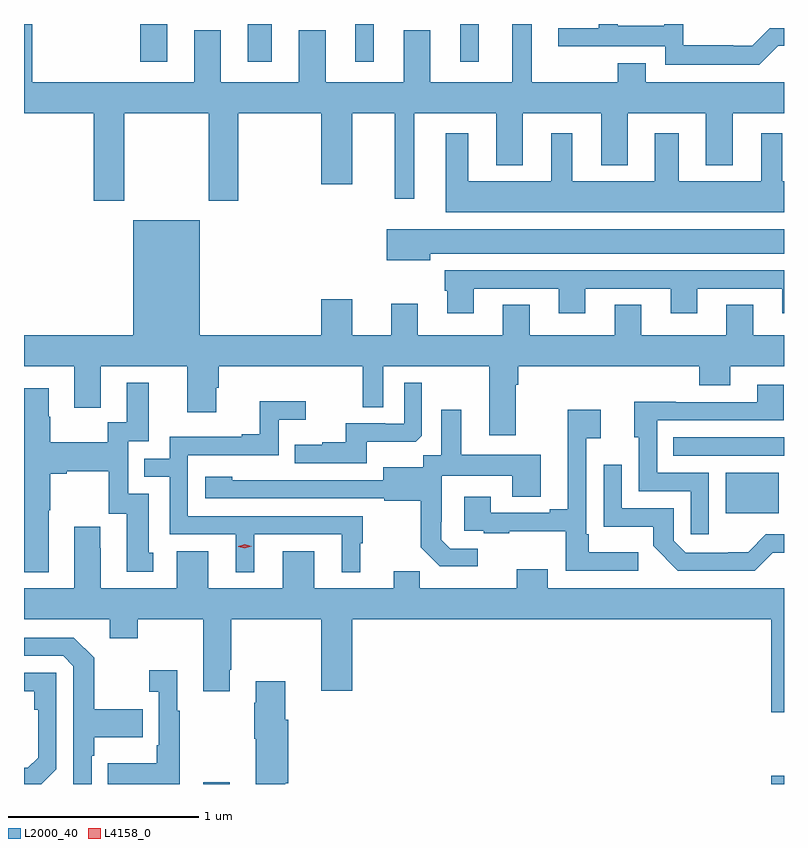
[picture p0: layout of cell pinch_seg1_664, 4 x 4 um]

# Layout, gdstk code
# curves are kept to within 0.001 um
import gdstk
lib = gdstk.Library(unit=1e-6, precision=1e-09)
def R(c, l, rs):  # rectangles x0, y0, x1, y1
    for r in rs: c.add(gdstk.rectangle(r[:2], r[2:], *l))
def P(c, l, *ps):  # polygons
    for p in ps: c.add(gdstk.Polygon(p, *l))
L2000_40 = (2000, 40)
L4158_0 = (4158, 0)

pinch_seg1_664 = lib.new_cell('pinch_seg1_664')
R(pinch_seg1_664, L2000_40, [(799.751,572.178,799.891,572.188), (802.741,572.178,802.808,572.221), (802.502,573.602,802.78,573.817), (802.225,573.906,802.808,574.002), (799.421,575.979,799.561,576.178), (799.985,575.979,800.113,576.178), (800.552,575.979,800.65,576.178), (801.104,575.979,801.202,576.178)])
P(pinch_seg1_664, L2000_40, [(799.335,575.708),(799.78,575.708),(799.78,575.247),(799.935,575.247),(799.935,575.708),(800.372,575.708),(800.372,575.334),(800.536,575.334),(800.536,575.708),(800.759,575.708),(800.759,575.259),(800.863,575.259),(800.863,575.708),(801.293,575.708),(801.293,575.435),(801.433,575.435),(801.433,575.708),(801.845,575.708),(801.845,575.435),(801.985,575.435),(801.985,575.708),(802.397,575.708),(802.397,575.435),(802.537,575.435),(802.537,575.708),(802.808,575.708),(802.808,575.872),(802.081,575.872),(802.081,575.971),(801.934,575.971),(801.934,575.872),(801.481,575.872),(801.481,576.178),(801.377,576.178),(801.377,575.872),(800.947,575.872),(800.947,576.145),(800.807,576.145),(800.807,575.872),(800.395,575.872),(800.395,576.145),(800.255,576.145),(800.255,575.872),(799.843,575.872),(799.843,576.145),(799.703,576.145),(799.703,575.872),(798.851,575.872),(798.851,576.178),(798.808,576.178),(798.808,575.708),(799.175,575.708),(799.175,575.247),(799.335,575.247)],
  [(802.779,576.063),(802.808,576.063),(802.808,576.156),(802.734,576.156),(802.641,576.063),(802.541,576.063),(802.541,576.067),(802.278,576.067),(802.278,576.178),(802.177,576.178),(802.177,576.169),(801.933,576.169),(801.933,576.178),(801.834,576.178),(801.834,576.156),(801.621,576.156),(801.621,576.06),(802.182,576.06),(802.182,575.963),(802.679,575.963)],
  [(802.808,575.35),(802.798,575.35),(802.798,575.602),(802.688,575.602),(802.688,575.35),(802.255,575.35),(802.255,575.602),(802.127,575.602),(802.127,575.35),(801.694,575.35),(801.694,575.602),(801.584,575.602),(801.584,575.35),(801.145,575.35),(801.145,575.602),(801.029,575.602),(801.029,575.186),(802.808,575.186)],
  [(801.397,574.28),(801.41,574.28),(801.41,574.376),(802.361,574.376),(802.361,574.277),(802.525,574.277),(802.525,574.376),(802.808,574.376),(802.808,574.54),(802.645,574.54),(802.645,574.7),(802.505,574.7),(802.505,574.54),(802.057,574.54),(802.057,574.7),(801.917,574.7),(801.917,574.54),(801.469,574.54),(801.469,574.7),(801.329,574.7),(801.329,574.54),(800.881,574.54),(800.881,574.705),(800.741,574.705),(800.741,574.54),(800.536,574.54),(800.536,574.729),(800.372,574.729),(800.372,574.54),(799.732,574.54),(799.732,575.146),(799.382,575.146),(799.382,574.54),(798.808,574.54),(798.808,574.376),(799.073,574.376),(799.073,574.158),(799.213,574.158),(799.213,574.376),(799.667,574.376),(799.667,574.134),(799.819,574.134),(799.819,574.263),(799.832,574.263),(799.832,574.376),(800.592,574.376),(800.592,574.162),(800.7,574.162),(800.7,574.376),(801.257,574.376),(801.257,574.014),(801.397,574.014)],
  [(800.947,574.97),(802.808,574.97),(802.808,575.098),(800.718,575.098),(800.718,574.934),(800.947,574.934)],
  [(801.175,574.785),(801.623,574.785),(801.623,574.656),(801.763,574.656),(801.763,574.785),(802.211,574.785),(802.211,574.656),(802.351,574.656),(802.351,574.785),(802.799,574.785),(802.799,574.656),(802.808,574.656),(802.808,574.881),(801.023,574.881),(801.023,574.773),(801.035,574.773),(801.035,574.656),(801.175,574.656)],
  [(800.611,573.98),(800.869,573.98),(800.901,574.011),(800.901,574.291),(800.808,574.291),(800.808,574.074),(800.708,574.074),(800.708,574.077),(800.501,574.077),(800.501,573.976),(800.377,573.976),(800.377,573.964),(800.233,573.964),(800.233,573.867),(800.611,573.867)],
  [(798.937,573.619),(798.945,573.619),(798.945,573.812),(799.033,573.812),(799.033,573.824),(799.253,573.824),(799.253,573.6),(799.349,573.6),(799.349,573.294),(799.489,573.294),(799.489,573.396),(799.465,573.396),(799.465,573.705),(799.356,573.705),(799.356,573.981),(799.465,573.981),(799.465,574.291),(799.349,574.291),(799.349,574.082),(799.248,574.082),(799.248,573.976),(798.945,573.976),(798.945,574.11),(798.937,574.11),(798.937,574.261),(798.808,574.261),(798.808,573.293),(798.937,573.293)],
  [(802.413,573.816),(802.14,573.816),(802.14,574.092),(802.807,574.092),(802.807,574.279),(802.667,574.279),(802.667,574.188),(802.237,574.188),(802.237,574.19),(802.019,574.19),(802.019,574.002),(802.044,574.002),(802.044,573.72),(802.317,573.72),(802.317,573.492),(802.413,573.492)],
  [(800.02,573.492),(800.48,573.492),(800.48,573.293),(800.578,573.293),(800.578,573.444),(800.59,573.444),(800.59,573.588),(799.671,573.588),(799.671,573.909),(800.148,573.909),(800.148,574.094),(800.29,574.094),(800.29,574.193),(800.05,574.193),(800.05,574.018),(799.955,574.018),(799.955,574.005),(799.575,574.005),(799.575,573.891),(799.441,573.891),(799.441,573.795),(799.575,573.795),(799.575,573.492),(799.922,573.492),(799.922,573.293),(800.02,573.293)],
  [(802.042,573.397),(801.781,573.397),(801.781,573.493),(801.768,573.493),(801.768,573.998),(801.844,573.998),(801.844,574.147),(801.671,574.147),(801.671,573.625),(801.575,573.625),(801.575,573.606),(801.265,573.606),(801.265,573.691),(801.125,573.691),(801.125,573.51),(801.229,573.51),(801.229,573.498),(801.361,573.498),(801.361,573.509),(801.66,573.509),(801.66,573.3),(802.042,573.3)],
  [(801.196,573.417),(801.051,573.417),(801.004,573.464),(801.004,573.559),(801.006,573.559),(801.006,573.8),(801.377,573.8),(801.377,573.691),(801.529,573.691),(801.529,573.91),(801.109,573.91),(801.109,574.147),(801.005,574.147),(801.005,573.908),(800.91,573.908),(800.91,573.844),(800.699,573.844),(800.699,573.777),(799.905,573.778),(799.905,573.796),(799.761,573.796),(799.761,573.681),(800.703,573.681),(800.703,573.669),(800.895,573.669),(800.895,573.423),(800.995,573.323),(801.196,573.323)],
  [(802.748,573.395),(802.808,573.395),(802.808,573.492),(802.713,573.492),(802.619,573.398),(802.514,573.398),(802.514,573.396),(802.29,573.396),(802.227,573.459),(802.227,573.63),(801.954,573.63),(801.954,573.859),(801.858,573.859),(801.858,573.533),(802.12,573.533),(802.12,573.431),(802.25,573.3),(802.653,573.3)],
  [(801.565,573.307),(801.401,573.307),(801.401,573.208),(800.891,573.208),(800.891,573.299),(800.753,573.299),(800.753,573.208),(800.335,573.208),(800.335,573.403),(800.171,573.403),(800.171,573.208),(799.777,573.208),(799.777,573.403),(799.613,573.403),(799.613,573.208),(799.213,573.208),(799.213,573.419),(799.21,573.419),(799.21,573.532),(799.073,573.532),(799.073,573.208),(798.808,573.208),(798.808,573.044),(799.259,573.044),(799.259,572.945),(799.407,572.945),(799.407,573.044),(799.751,573.044),(799.751,572.667),(799.891,572.667),(799.891,572.779),(799.899,572.779),(799.899,573.044),(800.372,573.044),(800.372,572.67),(800.536,572.67),(800.536,573.044),(802.741,573.044),(802.741,572.556),(802.808,572.556),(802.808,573.208),(801.565,573.208)],
  [(799.164,572.327),(799.177,572.327),(799.177,572.423),(799.433,572.423),(799.433,572.571),(799.177,572.571),(799.177,572.843),(799.071,572.949),(798.808,572.949),(798.808,572.853),(799.014,572.853),(799.068,572.799),(799.068,572.178),(799.164,572.178)],
  [(799.627,572.563),(799.615,572.563),(799.615,572.776),(799.467,572.776),(799.467,572.663),(799.518,572.663),(799.518,572.383),(799.506,572.383),(799.506,572.287),(799.249,572.287),(799.249,572.178),(799.627,572.178)],
  [(798.978,572.256),(798.978,572.763),(798.808,572.763),(798.808,572.667),(798.862,572.667),(798.862,572.57),(798.882,572.57),(798.882,572.316),(798.829,572.263),(798.808,572.263),(798.808,572.178),(798.9,572.178)],
  [(800.182,572.181),(800.2,572.181),(800.2,572.517),(800.182,572.517),(800.182,572.719),(800.027,572.719),(800.027,572.606),(800.02,572.606),(800.02,572.417),(800.027,572.417),(800.027,572.178),(800.182,572.178)])
P(pinch_seg1_664, L4158_0, [(799.971,573.419),(799.935,573.428),(799.935,573.429),(799.935,573.429),(799.971,573.439),(800.007,573.43),(800.007,573.43),(800.007,573.43)])

lib.write_gds('pinch_seg1_664.gds')
